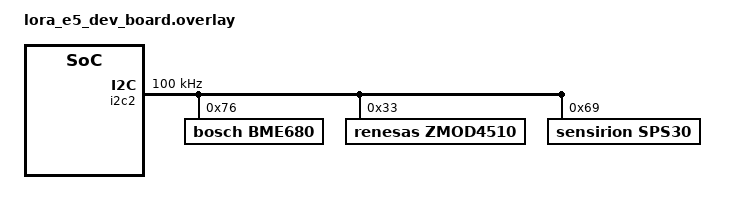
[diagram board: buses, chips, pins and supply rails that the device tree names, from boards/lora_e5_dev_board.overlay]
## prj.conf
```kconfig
# General
CONFIG_MAIN_STACK_SIZE=2048
CONFIG_SYSTEM_WORKQUEUE_STACK_SIZE=2048
CONFIG_NEWLIB_LIBC=y
CONFIG_NEWLIB_LIBC_FLOAT_PRINTF=y
CONFIG_CBPRINTF_FP_SUPPORT=y

# IO
CONFIG_I2C=y
CONFIG_SPI=y
CONFIG_GPIO=y
CONFIG_UART_ASYNC_API=y

# Logging
CONFIG_STDOUT_CONSOLE=y
CONFIG_LOG=y
CONFIG_ARCH_LOG_LEVEL_DBG=y
CONFIG_KERNEL_LOG_LEVEL_DBG=n
CONFIG_SENSOR_LOG_LEVEL_DBG=n

# Lora
CONFIG_LORA=y
CONFIG_LORA_SX12XX=y
CONFIG_LORAWAN=y
CONFIG_LORAMAC_REGION_US915=y

# Sensors
CONFIG_SENSOR=n
CONFIG_SPS30=y
CONFIG_BME680=y
CONFIG_ZMOD4510=y

# Power Management
CONFIG_PM=y
CONFIG_PM_DEVICE=y
CONFIG_PM_STATS=y

# Shell
CONFIG_PRINTK=y
CONFIG_SHELL=y
CONFIG_INIT_STACKS=y
CONFIG_THREAD_STACK_INFO=y
CONFIG_KERNEL_SHELL=y
CONFIG_THREAD_MONITOR=y
CONFIG_BOOT_BANNER=n
CONFIG_THREAD_NAME=y
CONFIG_DEVICE_SHELL=y
CONFIG_POSIX_CLOCK=y
CONFIG_DATE_SHELL=y
CONFIG_THREAD_RUNTIME_STATS=y
CONFIG_THREAD_RUNTIME_STATS_USE_TIMING_FUNCTIONS=y
CONFIG_STATS=y
CONFIG_SENSOR_SHELL=n
CONFIG_CUSTOM_SENSOR_SHELL=y

CONFIG_THREAD_NAME=y
CONFIG_SEGGER_SYSTEMVIEW=y
CONFIG_USE_SEGGER_RTT=y
CONFIG_TRACING=y
# enable for post-mortem tracing
CONFIG_SEGGER_SYSVIEW_POST_MORTEM_MODE=y
```

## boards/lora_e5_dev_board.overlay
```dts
usb_wakeup: &user_button {};

&i2c2 {
  clock-frequency = < 0x186a0 >;
  bme680: bme680@76 {
    compatible = "bosch,bme680";
    reg = <0x76>;
    label = "BME680";
    status="okay";
  };

  zmod4510: zmod4510@33 {
    compatible = "renesas,zmod4510";
    reg = <0x33>;
    label = "ZMOD4510";
    status="okay";
  };

  sps30: sps30@69 {
    compatible = "sensirion,sps30";
    reg = <0x69>;
    label = "SPS30";
    status="okay";
  };
};

&cpu0 {
	cpu-power-states = <&stop0>;
};

&gpioa {
  wakeup-source;
};

// vim: ft=dts
```

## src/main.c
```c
/*
 * Sandbox application to experiment with Zephyr and Aether features.
 *
 */

#include <zephyr.h>
#include <device.h>
#include <drivers/gpio.h>
#include <logging/log.h>
#include <pm/pm.h>
#include <pm/device.h>
#include <stdio.h>
#include <stdlib.h>
#include <stdint.h>

#define STACK_SIZE 1024
#define CONSUMER_PRIORITY 1
#define PRODUCER_PRIORITY 0

LOG_MODULE_REGISTER(sandbox);

K_MSGQ_DEFINE(msgq, sizeof(int32_t), 16, 4);

void consumer_entry(void *_msgq, void *arg2, void *arg3) {
  int32_t data;
  int ret;

  printk("starting consumer\n");
  k_msleep(1000);
  while (1) {
    ret = k_msgq_get(&msgq, &data, K_FOREVER);
    printk("consumer got %d ret=%d\n", data, ret);
  }
}

void producer_entry(void *arg1, void *arg2, void *arg3) {
  int32_t data;
  int ret;

  printk("starting producer\n");
  k_msleep(1000);
  while (1) {
    data = rand();
    ret = k_msgq_put(&msgq, &data, K_NO_WAIT);
    printk("producer put %d ret=%d\n", data, ret);
    k_msleep(1000);
  }
}


K_THREAD_DEFINE(consumer_tid, 1024,
                consumer_entry, NULL, NULL, NULL,
                CONSUMER_PRIORITY, 0, 0);

K_THREAD_DEFINE(producer_tid, 1024,
                producer_entry, NULL, NULL, NULL,
                PRODUCER_PRIORITY, 0, 0);

void main() {
  printk("Starting threads\n");
}
```
